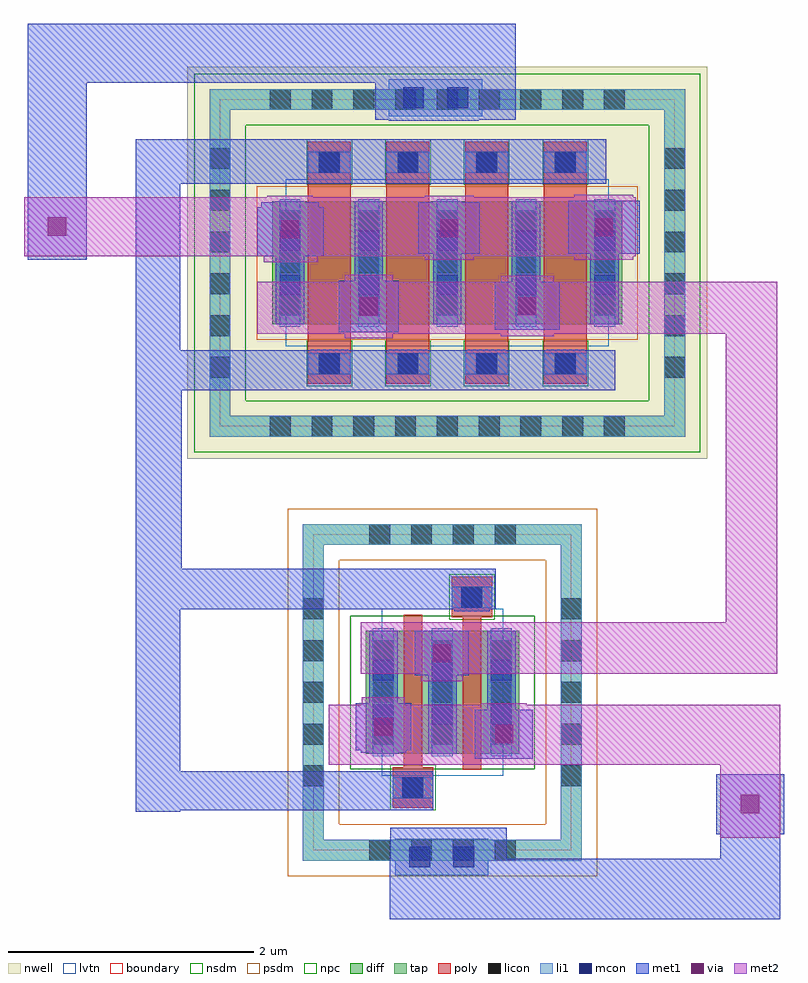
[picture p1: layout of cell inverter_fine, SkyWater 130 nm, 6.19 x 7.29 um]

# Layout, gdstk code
import gdstk
lib = gdstk.Library(unit=1e-6, precision=1e-09)
def R(c, l, rs):  # rectangles x0, y0, x1, y1
    for r in rs: c.add(gdstk.rectangle(r[:2], r[2:], *l))
def A(c, l, x, y, w, h, nx, ny, dx, dy):  # array of equal rectangles
    R(c, l, [(x+i*dx, y+j*dy, x+i*dx+w, y+j*dy+h) for i in range(nx) for j in range(ny)])
nwell = (64, 20)
diff = (65, 20)
tap = (65, 44)
poly = (66, 20)
licon = (66, 44)
li1 = (67, 20)
mcon = (67, 44)
met1 = (68, 20)
via = (68, 44)
met2 = (69, 20)
nsdm = (93, 44)
psdm = (94, 20)
npc = (95, 20)
lvtn = (125, 44)
boundary = (235, 4)

sky130_fd_pr__pfet_01v8_ = lib.new_cell('sky130_fd_pr__pfet_01v8_lvt_4QBKD3')
R(sky130_fd_pr__pfet_01v8_, nwell, [(-2.115,-1.595,2.115,1.595)])
R(sky130_fd_pr__pfet_01v8_, diff, [(-1.425,-0.5,1.425,0.5)])
R(sky130_fd_pr__pfet_01v8_, tap, [(-1.935,-1.415,1.935,-1.245), (-1.935,-1.245,-1.765,1.245), (1.765,-1.245,1.935,1.245), (-1.935,1.245,1.935,1.415)])
A(sky130_fd_pr__pfet_01v8_, poly, -1.135, -0.985, 0.35, 1.97, 4, 1, 0.64, 0)
A(sky130_fd_pr__pfet_01v8_, licon, -1.445, -1.415, 0.17, 0.17, 9, 2, 0.34, 2.66)
A(sky130_fd_pr__pfet_01v8_, licon, -1.935, -0.935, 0.17, 0.17, 1, 6, 0, 0.34)
A(sky130_fd_pr__pfet_01v8_, licon, 1.765, -0.935, 0.17, 0.17, 1, 6, 0, 0.34)
A(sky130_fd_pr__pfet_01v8_, licon, -1.045, -0.905, 0.17, 0.17, 4, 2, 0.64, 1.64)
A(sky130_fd_pr__pfet_01v8_, licon, -1.365, -0.425, 0.17, 0.17, 5, 3, 0.64, 0.34)
A(sky130_fd_pr__pfet_01v8_, li1, -1.135, -0.905, 0.35, 0.17, 4, 2, 0.64, 1.64)
A(sky130_fd_pr__pfet_01v8_, li1, -1.365, -0.52, 0.17, 1.04, 5, 1, 0.64, 0)
R(sky130_fd_pr__pfet_01v8_, li1, [(-1.935,-1.415,1.935,-1.245), (-1.935,-1.245,-1.765,1.245), (1.765,-1.245,1.935,1.245), (-1.935,1.245,1.935,1.415)])
A(sky130_fd_pr__pfet_01v8_, mcon, -1.045, -0.905, 0.17, 0.17, 4, 2, 0.64, 1.64)
A(sky130_fd_pr__pfet_01v8_, mcon, -1.365, -0.265, 0.17, 0.17, 5, 2, 0.64, 0.36)
A(sky130_fd_pr__pfet_01v8_, met1, -1.115, -0.935, 0.31, 0.23, 4, 2, 0.64, 1.64)
A(sky130_fd_pr__pfet_01v8_, met1, -1.395, -0.5, 0.23, 1, 5, 1, 0.64, 0)
R(sky130_fd_pr__pfet_01v8_, nsdm, [(-2.06,-1.54,2.06,-1.12), (-2.06,-1.12,-1.64,1.12), (1.64,-1.12,2.06,1.12), (-2.06,1.12,2.06,1.54)])
R(sky130_fd_pr__pfet_01v8_, psdm, [(-1.55,-0.625,1.55,0.625)])
A(sky130_fd_pr__pfet_01v8_, npc, -1.145, -1.005, 0.37, 0.37, 4, 2, 0.64, 1.64)
R(sky130_fd_pr__pfet_01v8_, lvtn, [(-1.315,-0.68,1.315,0.68)])
R(sky130_fd_pr__pfet_01v8_, boundary, [(-1.85,-1.33,1.85,1.33)])

sky130_fd_pr__nfet_01v8_ = lib.new_cell('sky130_fd_pr__nfet_01v8_lvt_DJ7QE5')
R(sky130_fd_pr__nfet_01v8_, diff, [(-0.625,-0.5,0.625,0.5)])
R(sky130_fd_pr__nfet_01v8_, tap, [(-1.135,-1.37,1.135,-1.2), (-1.135,-1.2,-0.965,1.2), (0.965,-1.2,1.135,1.2), (-1.135,1.2,1.135,1.37)])
R(sky130_fd_pr__nfet_01v8_, poly, [(-0.405,-0.94,-0.075,-0.61), (0.165,-0.63,0.315,0.61), (-0.315,-0.61,-0.165,0.63), (0.075,0.61,0.405,0.94)])
A(sky130_fd_pr__nfet_01v8_, licon, -0.595, -1.37, 0.17, 0.17, 4, 2, 0.34, 2.57)
A(sky130_fd_pr__nfet_01v8_, licon, -1.135, -0.765, 0.17, 0.17, 1, 5, 0, 0.34)
A(sky130_fd_pr__nfet_01v8_, licon, 0.965, -0.765, 0.17, 0.17, 1, 5, 0, 0.34)
A(sky130_fd_pr__nfet_01v8_, licon, -0.565, -0.425, 0.17, 0.17, 3, 3, 0.48, 0.34)
R(sky130_fd_pr__nfet_01v8_, licon, [(-0.325,-0.86,-0.155,-0.69), (0.155,0.69,0.325,0.86)])
A(sky130_fd_pr__nfet_01v8_, li1, -0.565, -0.52, 0.17, 1.04, 3, 1, 0.48, 0)
R(sky130_fd_pr__nfet_01v8_, li1, [(-1.135,-1.37,1.135,-1.2), (-1.135,-1.2,-0.965,1.2), (0.965,-1.2,1.135,1.2), (-0.405,-0.86,-0.075,-0.69), (0.075,0.69,0.405,0.86), (-1.135,1.2,1.135,1.37)])
A(sky130_fd_pr__nfet_01v8_, mcon, -0.565, -0.265, 0.17, 0.17, 3, 2, 0.48, 0.36)
R(sky130_fd_pr__nfet_01v8_, mcon, [(-0.325,-0.86,-0.155,-0.69), (0.155,0.69,0.325,0.86)])
A(sky130_fd_pr__nfet_01v8_, met1, -0.595, -0.5, 0.23, 1, 3, 1, 0.48, 0)
R(sky130_fd_pr__nfet_01v8_, met1, [(-0.385,-0.89,-0.095,-0.66), (0.095,0.66,0.385,0.89)])
R(sky130_fd_pr__nfet_01v8_, nsdm, [(-0.75,-0.625,0.75,0.625)])
R(sky130_fd_pr__nfet_01v8_, psdm, [(-1.26,-1.495,1.26,-1.075), (-1.26,-1.075,-0.84,1.075), (0.84,-1.075,1.26,1.075), (-1.26,1.075,1.26,1.495)])
R(sky130_fd_pr__nfet_01v8_, npc, [(-0.425,-0.96,-0.055,-0.59), (0.055,0.59,0.425,0.96)])
R(sky130_fd_pr__nfet_01v8_, lvtn, [(-0.495,-0.68,0.495,0.68)])
R(sky130_fd_pr__nfet_01v8_, boundary, [(-1.05,-1.285,1.05,1.285)])

inverter_fine = lib.new_cell('inverter_fine')
R(inverter_fine, li1, [(2.44,-1.91,3.2,-1.61), (2.39,4.27,3.15,4.57)])
R(inverter_fine, mcon, [(2.555,-1.845,2.725,-1.675), (2.915,-1.845,3.085,-1.675), (2.505,4.335,2.675,4.505), (2.865,4.335,3.035,4.505)])
R(inverter_fine, met1, [(2.395,-2.265,5.575,-1.775), (2.4,-1.775,3.35,-1.52), (5.085,-1.775,5.575,-1.575), (5.055,-1.575,5.605,-1.085), (0.33,-1.39,0.69,-1.38), (0.33,-1.38,2.75,-1.06), (0.33,-1.06,0.69,0.255), (3.09,-0.96,3.56,-0.56), (2.16,-0.91,2.53,-0.89), (2.12,-0.89,2.57,-0.51), (2.6,-0.28,3.04,0.08), (0.33,0.255,3.245,0.26), (0.33,0.26,3.26,0.585), (0.33,0.585,0.705,2.04), (0.33,2.04,4.23,2.365), (0.33,2.365,0.69,3.72), (1.98,2.51,2.47,2.93), (3.25,2.53,3.78,2.92), (-0.55,3.1,-0.07,4.54), (1.32,3.13,1.86,3.53), (2.63,3.15,3.13,3.57), (3.85,3.15,4.43,3.58), (1.35,3.53,1.82,3.57), (0.33,3.72,4.16,4.08), (2.39,4.23,3.12,4.24), (2.28,4.24,3.42,4.54), (-0.55,4.54,3.42,5.02)])
R(inverter_fine, via, [(5.255,-1.405,5.405,-1.255), (3.25,-0.835,3.4,-0.685), (2.27,-0.775,2.42,-0.625), (2.745,-0.175,2.895,-0.025), (2.15,2.645,2.3,2.795), (3.44,2.65,3.59,2.8), (1.51,3.275,1.66,3.425), (2.805,3.285,2.955,3.435), (4.065,3.29,4.215,3.44), (-0.385,3.295,-0.235,3.445)])
R(inverter_fine, met2, [(5.085,-1.605,5.575,-1.01), (1.9,-1.01,5.575,-0.52), (2.17,-0.52,2.52,-0.46), (3.14,-0.52,3.51,-0.51), (2.65,-0.33,2.99,-0.27), (2.16,-0.27,5.55,0.15), (5.13,0.15,5.55,2.5), (2.03,2.46,2.42,2.5), (3.3,2.48,3.73,2.5), (1.32,2.5,5.55,2.92), (2.03,2.92,2.42,2.98), (3.3,2.92,3.73,2.97), (1.37,3.08,1.81,3.13), (2.68,3.1,3.08,3.13), (3.9,3.1,4.38,3.13), (-0.58,3.13,4.4,3.61), (1.4,3.61,1.77,3.62), (2.68,3.61,3.08,3.62), (3.9,3.61,4.38,3.63)])
inverter_fine.add(gdstk.Reference(sky130_fd_pr__pfet_01v8_, (2.865,3.075)))
inverter_fine.add(gdstk.Reference(sky130_fd_pr__nfet_01v8_, (2.825,-0.42)))

lib.write_gds('inverter_fine.gds')
